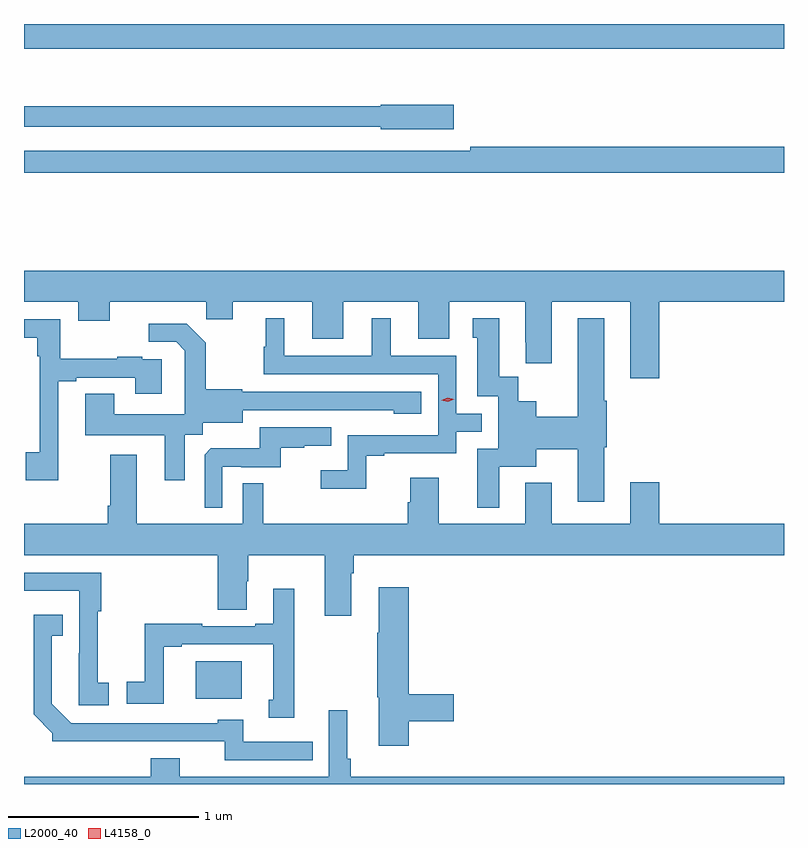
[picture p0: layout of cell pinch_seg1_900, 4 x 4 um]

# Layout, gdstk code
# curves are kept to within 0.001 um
import gdstk
lib = gdstk.Library(unit=1e-6, precision=1e-09)
def R(c, l, rs):  # rectangles x0, y0, x1, y1
    for r in rs: c.add(gdstk.rectangle(r[:2], r[2:], *l))
def P(c, l, *ps):  # polygons
    for p in ps: c.add(gdstk.Polygon(p, *l))
L2000_40 = (2000, 40)
L4158_0 = (4158, 0)

pinch_seg1_900 = lib.new_cell('pinch_seg1_900')
R(pinch_seg1_900, L2000_40, [(337.979,528.332,338.221,528.529), (337.075,531.752,341.075,531.883)])
P(pinch_seg1_900, L2000_40, [(339.337,531.459),(338.952,531.459),(338.952,531.451),(337.075,531.451),(337.075,531.342),(338.952,531.342),(338.952,531.329),(339.337,531.329)],
  [(341.075,531.236),(339.424,531.236),(339.424,531.216),(337.075,531.216),(337.075,531.1),(341.075,531.1)],
  [(340.418,530.42),(341.075,530.42),(341.075,530.584),(337.075,530.584),(337.075,530.42),(337.361,530.42),(337.361,530.321),(337.525,530.321),(337.525,530.42),(338.035,530.42),(338.035,530.33),(338.173,530.33),(338.173,530.42),(338.591,530.42),(338.591,530.226),(338.755,530.226),(338.755,530.42),(339.149,530.42),(339.149,530.226),(339.313,530.226),(339.313,530.42),(339.713,530.42),(339.713,530.209),(339.716,530.209),(339.716,530.097),(339.853,530.097),(339.853,530.42),(340.265,530.42),(340.265,530.019),(340.418,530.019)],
  [(339.577,529.553),(339.772,529.553),(339.772,529.645),(339.989,529.645),(339.989,529.368),(340.129,529.368),(340.129,529.656),(340.142,529.656),(340.142,529.9),(340.129,529.9),(340.129,530.335),(339.989,530.335),(339.989,529.817),(339.772,529.817),(339.772,529.897),(339.675,529.897),(339.675,530.027),(339.577,530.027),(339.577,530.335),(339.437,530.335),(339.437,530.232),(339.461,530.232),(339.461,529.923),(339.57,529.923),(339.57,529.647),(339.461,529.647),(339.461,529.338),(339.577,529.338)],
  [(338.877,529.611),(338.971,529.611),(338.971,529.623),(339.351,529.623),(339.351,529.737),(339.484,529.737),(339.484,529.833),(339.351,529.833),(339.351,530.136),(339.004,530.136),(339.004,530.335),(338.906,530.335),(338.906,530.136),(338.446,530.136),(338.446,530.335),(338.348,530.335),(338.348,530.184),(338.337,530.184),(338.337,530.04),(339.255,530.04),(339.255,529.719),(338.778,529.719),(338.778,529.534),(338.637,529.534),(338.637,529.436),(338.877,529.436)],
  [(337.255,530.004),(337.351,530.004),(337.351,530.022),(337.661,530.022),(337.661,529.938),(337.801,529.938),(337.801,530.118),(337.697,530.118),(337.697,530.131),(337.565,530.131),(337.565,530.12),(337.267,530.12),(337.267,530.328),(337.075,530.328),(337.075,530.231),(337.146,530.231),(337.146,530.135),(337.158,530.135),(337.158,529.63),(337.083,529.63),(337.083,529.482),(337.255,529.482)],
  [(337.921,529.72),(338.016,529.72),(338.016,529.784),(338.227,529.784),(338.227,529.851),(339.021,529.85),(339.021,529.832),(339.166,529.832),(339.166,529.947),(338.223,529.947),(338.223,529.96),(338.031,529.96),(338.031,530.205),(337.931,530.305),(337.731,530.305),(337.731,530.211),(337.875,530.211),(337.922,530.164),(337.922,530.069),(337.92,530.069),(337.92,529.828),(337.549,529.828),(337.549,529.937),(337.397,529.937),(337.397,529.718),(337.817,529.718),(337.817,529.482),(337.921,529.482)],
  [(338.118,529.554),(338.218,529.554),(338.218,529.551),(338.426,529.551),(338.426,529.653),(338.549,529.653),(338.549,529.664),(338.693,529.664),(338.693,529.761),(338.316,529.761),(338.316,529.649),(338.057,529.649),(338.025,529.617),(338.025,529.337),(338.118,529.337)],
  [(338.797,528.992),(338.81,528.992),(338.81,529.088),(341.075,529.088),(341.075,529.252),(340.418,529.252),(340.418,529.471),(340.265,529.471),(340.265,529.252),(339.853,529.252),(339.853,529.468),(339.713,529.468),(339.713,529.252),(339.259,529.252),(339.259,529.495),(339.107,529.495),(339.107,529.365),(339.095,529.365),(339.095,529.252),(338.335,529.252),(338.335,529.466),(338.226,529.466),(338.226,529.252),(337.669,529.252),(337.669,529.615),(337.529,529.615),(337.529,529.348),(337.517,529.348),(337.517,529.252),(337.075,529.252),(337.075,529.088),(338.096,529.088),(338.096,528.799),(338.248,528.799),(338.248,528.95),(338.256,528.95),(338.256,529.088),(338.657,529.088),(338.657,528.768),(338.797,528.768)],
  [(337.522,528.417),(337.464,528.417),(337.464,528.793),(337.481,528.793),(337.481,528.996),(337.075,528.996),(337.075,528.9),(337.365,528.9),(337.365,528.572),(337.364,528.572),(337.364,528.297),(337.522,528.297)],
  [(339.101,528.214),(339.337,528.214),(339.337,528.356),(339.101,528.356),(339.101,528.919),(338.942,528.919),(338.942,528.68),(338.935,528.68),(338.935,528.339),(338.942,528.339),(338.942,528.084),(339.101,528.084)],
  [(338.497,528.91),(338.387,528.91),(338.387,528.727),(338.291,528.727),(338.291,528.714),(338.012,528.714),(338.012,528.727),(337.711,528.727),(337.711,528.422),(337.617,528.422),(337.617,528.306),(337.81,528.306),(337.81,528.606),(337.906,528.606),(337.906,528.618),(338.387,528.618),(338.387,528.327),(338.363,528.327),(338.363,528.233),(338.497,528.233)],
  [(338.594,528.105),(338.23,528.105),(338.23,528.22),(338.094,528.22),(338.094,528.204),(337.323,528.204),(337.222,528.305),(337.222,528.662),(337.28,528.662),(337.28,528.775),(337.125,528.775),(337.125,528.25),(337.224,528.151),(337.224,528.107),(338.131,528.108),(338.131,528.009),(338.594,528.009)],
  [(341.075,527.92),(338.795,527.92),(338.795,528.016),(338.776,528.016),(338.776,528.271),(338.679,528.271),(338.679,527.92),(337.894,527.92),(337.894,528.019),(337.742,528.019),(337.742,527.92),(337.075,527.92),(337.075,527.883),(341.075,527.883)])
P(pinch_seg1_900, L4158_0, [(339.306,529.895),(339.271,529.902),(339.27,529.903),(339.271,529.903),(339.304,529.915),(339.339,529.908),(339.339,529.908),(339.339,529.908)])

lib.write_gds('pinch_seg1_900.gds')
